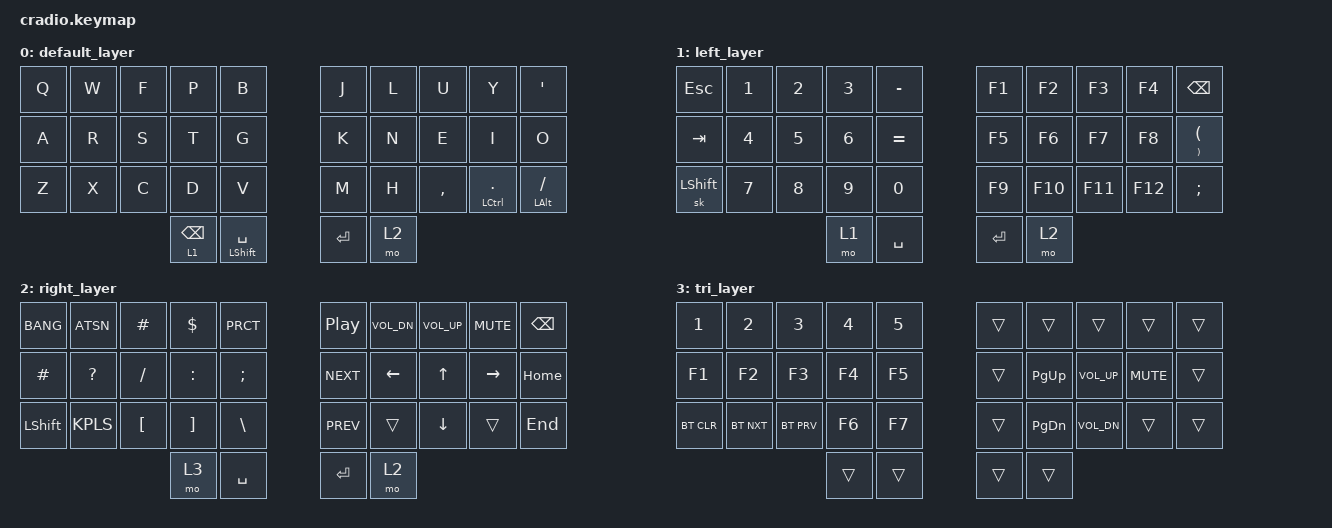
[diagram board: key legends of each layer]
/*
 * Copyright (c) 2020 The ZMK Contributors
 *
 * SPDX-License-Identifier: MIT
 */

#include <behaviors.dtsi>
#include <dt-bindings/zmk/keys.h>
#include <dt-bindings/zmk/bt.h>


&mt {
  //  flavor = "tap-preferred";
   // tapping_term_ms = <300>;
};

/ { 

    combos {
        compatible = "zmk,combos";
        combo_esc {
            timeout-ms = <50>;
            key-positions = <1 2>;
            bindings = <&kp ESC>;
        };
        
         combo_tab {
            timeout-ms = <50>;
            key-positions = <10 11>;
            bindings = <&kp TAB>;
        };
        
            combo_ralt {
            timeout-ms = <50>;
            key-positions = <17 16>;
            bindings = <&kp RALT>;
        };
        
                    combo_lalt {
            timeout-ms = <50>;
            key-positions = <11 12>;
            bindings = <&kp LALT>;
        };
        
                           combo_lgui {
            timeout-ms = <50>;
            key-positions = <12 13>;
            bindings = <&kp LGUI>;
        };
        
        
           combo_rgui {
            timeout-ms = <50>;
            key-positions = <17 18>;
            bindings = <&kp RGUI>;
        };
        

        
    };

        keymap {
                compatible = "zmk,keymap";
                
       		default_layer {
		bindings = <
		&kp Q &kp W &kp F &kp P &kp B 					        &kp J &kp L  &kp U  &kp Y  &kp SQT
		&kp A &kp R &kp S &kp T &kp G 			        		&kp K &kp N &kp E &kp I &kp O
		&kp Z &kp X &kp C &kp D &kp V			                	&kp M &kp H  &kp COMMA &mt LCTRL DOT &mt LALT FSLH
          				&lt 1 BSPC &mt LSHFT SPACE  				&kp ENTER &mo 2 
		>;
		};

       		left_layer {
		bindings = <
		&kp ESC   &kp N1    &kp N2    &kp N3    &kp MINUS		&kp F1 &kp F2 &kp F3 &kp F4 &kp BACKSPACE 
		&kp TAB   &kp N4    &kp N5    &kp N6    &kp EQUAL 		&kp F5 &kp F6  &kp F7 &kp F8  &mt RPAR LPAR
		&sk LSHFT  &kp N7    &kp N8    &kp N9    &kp N0			&kp F9 &kp F10 &kp F11 &kp F12  &kp SEMICOLON
					    &mo 1  &kp SPACE  			&kp ENTER &mo 2 
		>;
		};
		
		right_layer {
		bindings = <
		&kp BANG  &kp ATSN &kp HASH  &kp DLLR  &kp PRCT    			&kp C_PP  &kp C_VOL_DN &kp C_VOL_UP &kp C_MUTE  &kp BSPC 
		&kp HASH  &kp QMARK  &kp FSLH  &kp COLN  &kp SCLN 			&kp C_NEXT  &kp LEFT  &kp UP  &kp RIGHT   &kp HOME
		&kp LSHFT  &kp KPLS &kp LBKT &kp RBKT   &kp BSLH    			&kp C_PREV &trans  &kp DOWN &trans  &kp END
					  &mo 3 &kp SPACE  				&kp ENTER  &mo 2 
		>;
		};	
		
		tri_layer {
		bindings = <
		&kp NUM_1  &kp NUM_2    &kp NUM_3    &kp NUM_4    &kp NUM_5 			&trans &trans   &trans   &trans  &trans
		&kp F1 &kp F2 &kp F3 &kp F4 &kp F5  						&trans &kp PG_UP  &kp K_VOL_UP &kp K_MUTE &trans 
		&bt BT_CLR  &bt BT_NXT &bt BT_PRV &kp F6 &kp F7   				&trans &kp PG_DN  &kp K_VOL_DN  &trans &trans   
					 &trans &trans  					&trans &trans 
		>;
		};	
        
	};
};
